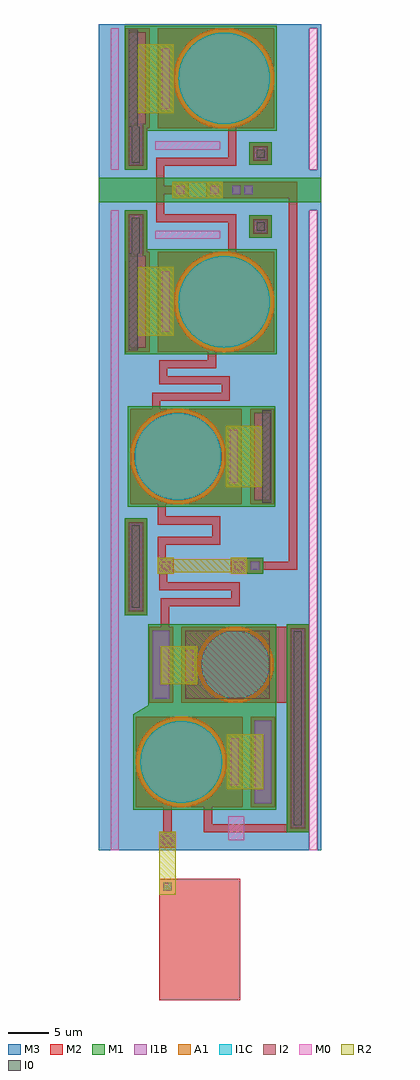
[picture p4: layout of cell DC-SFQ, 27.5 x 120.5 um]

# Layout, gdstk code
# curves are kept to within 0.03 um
from math import pi, radians
import gdstk
lib = gdstk.Library(unit=1e-6, precision=1e-09)
def R(c, l, rs):  # rectangles x0, y0, x1, y1
    for r in rs: c.add(gdstk.rectangle(r[:2], r[2:], *l))
def P(c, l, *ps):  # polygons
    for p in ps: c.add(gdstk.Polygon(p, *l))
M1 = (1, 0)
I1B = (3, 0)
I1C = (4, 0)
A1 = (5, 0)
M2 = (6, 0)
I2 = (8, 0)
R2 = (9, 0)
M3 = (10, 0)
M0 = (30, 0)
I0 = (31, 0)

ak_qc1p0r265 = lib.new_cell('ak_qc1p0r265')
R(ak_qc1p0r265, I1B, [(-3.7,-5.5,3.7,-3.5), (-3.3,-1.5,3.3,-0.5)])
R(ak_qc1p0r265, M2, [(-4.2,-6,4.2,-3), (-4.2,-2,4.2,0)])
R(ak_qc1p0r265, R2, [(-3.8,-4.5,3.8,0)])

ak_qc1p1j800 = lib.new_cell('ak_qc1p1j800')
P(ak_qc1p1j800, I1B, [(0,-5.4),(-1.03,-5.301),(-2.11,-4.971),(-3.02,-4.477),(-3.818,-3.818),(-4.477,-3.02),(-4.971,-2.11),(-5.301,-1.03),(-5.4,0),(-5.301,1.03),(-4.971,2.11),(-4.477,3.02),(-3.818,3.818),(-3.02,4.477),(-2.11,4.971),(-1.03,5.301),(0,5.4),(1.03,5.301),(2.11,4.971),(3.02,4.477),(3.818,3.818),(4.477,3.02),(4.971,2.11),(5.301,1.03),(5.4,0),(5.301,-1.03),(4.971,-2.11),(4.477,-3.02),(3.818,-3.818),(3.02,-4.477),(2.11,-4.971),(1.03,-5.301)])
P(ak_qc1p1j800, I1C, [(-0.093,-5.352),(-1.204,-5.215),(-2.177,-4.89),(-3.07,-4.384),(-3.85,-3.718),(-4.489,-2.915),(-4.963,-2.005),(-5.254,-1.021),(-5.352,0.093),(-5.215,1.204),(-4.89,2.177),(-4.384,3.07),(-3.718,3.85),(-2.915,4.489),(-2.005,4.963),(-1.021,5.254),(0.093,5.352),(1.204,5.215),(2.177,4.89),(3.07,4.384),(3.85,3.718),(4.489,2.915),(4.963,2.005),(5.254,1.021),(5.352,-0.093),(5.215,-1.204),(4.89,-2.177),(4.384,-3.07),(3.718,-3.85),(2.915,-4.489),(2.005,-4.963),(1.021,-5.254)])
P(ak_qc1p1j800, A1, [(0,-5.9),(-1.126,-5.792),(-1.725,-5.642),(-2.305,-5.431),(-3.299,-4.891),(-4.172,-4.172),(-4.891,-3.299),(-5.431,-2.305),(-5.642,-1.725),(-5.792,-1.126),(-5.9,0),(-5.792,1.126),(-5.642,1.725),(-5.431,2.305),(-4.891,3.299),(-4.172,4.172),(-3.299,4.891),(-2.305,5.431),(-1.725,5.642),(-1.126,5.792),(0,5.9),(1.126,5.792),(1.725,5.642),(2.305,5.431),(3.299,4.891),(4.172,4.172),(4.891,3.299),(5.431,2.305),(5.642,1.725),(5.792,1.126),(5.9,0),(5.792,-1.126),(5.642,-1.725),(5.431,-2.305),(4.891,-3.299),(4.172,-4.172),(3.299,-4.891),(2.305,-5.431),(1.725,-5.642),(1.126,-5.792)])

ak_qc1p1j800s = lib.new_cell('ak_qc1p1j800s')
R(ak_qc1p1j800s, M1, [(-6.2,-12,6.2,6.2)])
R(ak_qc1p1j800s, I1B, [(-5.4,-11.4,5.4,-9.4)])
R(ak_qc1p1j800s, M2, [(-5.9,-11.9,5.9,-8.9), (-5.9,-7.9,5.9,5.9)])
ak_qc1p1j800s.add(gdstk.Reference(ak_qc1p0r265, (0,-5.9)))
ak_qc1p1j800s.add(gdstk.Reference(ak_qc1p1j800, (0,0)))

ak_qc1p1j800sgd = lib.new_cell('ak_qc1p1j800sgd')
R(ak_qc1p1j800sgd, I2, [(-5.4,-11.4,5.4,-9.4)])
R(ak_qc1p1j800sgd, M3, [(-5.9,-11.9,5.9,-8.9)])
R(ak_qc1p1j800sgd, I0, [(-5.7,-11.5,5.7,-10.4)])
ak_qc1p1j800sgd.add(gdstk.Reference(ak_qc1p1j800s, (0,0)))

ak_qc1p2j000_2 = lib.new_cell('ak_qc1p2j000$2')
P(ak_qc1p2j000_2, I1B, [(0,-5.6),(-0.585,-5.569),(-1.164,-5.478),(-2.188,-5.155),(-3.131,-4.643),(-3.96,-3.96),(-4.643,-3.131),(-5.155,-2.188),(-5.478,-1.164),(-5.569,-0.585),(-5.6,0),(-5.569,0.585),(-5.478,1.164),(-5.155,2.188),(-4.643,3.131),(-3.96,3.96),(-3.131,4.643),(-2.188,5.155),(-1.164,5.478),(-0.585,5.569),(0,5.6),(0.585,5.569),(1.164,5.478),(2.188,5.155),(3.131,4.643),(3.96,3.96),(4.643,3.131),(5.155,2.188),(5.478,1.164),(5.569,0.585),(5.6,0),(5.569,-0.585),(5.478,-1.164),(5.155,-2.188),(4.643,-3.131),(3.96,-3.96),(3.131,-4.643),(2.188,-5.155),(1.164,-5.478),(0.585,-5.569)])
P(ak_qc1p2j000_2, I1C, [(0,-5.642),(-1.077,-5.538),(-2.113,-5.231),(-3.073,-4.732),(-3.551,-4.385),(-3.989,-3.989),(-4.385,-3.551),(-4.732,-3.073),(-5.231,-2.113),(-5.538,-1.077),(-5.642,0),(-5.538,1.077),(-5.231,2.113),(-4.732,3.073),(-4.385,3.551),(-3.989,3.989),(-3.551,4.385),(-3.073,4.732),(-2.113,5.231),(-1.077,5.538),(0,5.642),(1.077,5.538),(2.113,5.231),(3.073,4.732),(3.551,4.385),(3.989,3.989),(4.385,3.551),(4.732,3.073),(5.231,2.113),(5.538,1.077),(5.642,0),(5.538,-1.077),(5.231,-2.113),(4.732,-3.073),(4.385,-3.551),(3.989,-3.989),(3.551,-4.385),(3.073,-4.732),(2.113,-5.231),(1.077,-5.538)])
P(ak_qc1p2j000_2, A1, [(0,-6.2),(-1.183,-6.086),(-2.323,-5.749),(-3.377,-5.2),(-3.902,-4.818),(-4.384,-4.384),(-4.818,-3.902),(-5.2,-3.377),(-5.749,-2.323),(-6.086,-1.183),(-6.2,0),(-6.086,1.183),(-5.749,2.323),(-5.2,3.377),(-4.818,3.902),(-4.384,4.384),(-3.902,4.818),(-3.377,5.2),(-2.323,5.749),(-1.183,6.086),(0,6.2),(1.183,6.086),(2.323,5.749),(3.377,5.2),(3.902,4.818),(4.384,4.384),(4.818,3.902),(5.2,3.377),(5.749,2.323),(6.086,1.183),(6.2,0),(6.086,-1.183),(5.749,-2.323),(5.2,-3.377),(4.818,-3.902),(4.384,-4.384),(3.902,-4.818),(3.377,-5.2),(2.323,-5.749),(1.183,-6.086)])

ak_qc10r24_2 = lib.new_cell('ak_qc10r24$2')
R(ak_qc10r24_2, I1B, [(-4.1,-5.5,4.2,-3.5), (-3.7,-1.5,3.8,-0.5)])
R(ak_qc10r24_2, M2, [(-4.6,-6,4.7,-3), (-4.6,-2,4.7,0)])
R(ak_qc10r24_2, R2, [(-4.2,-4.5,4.3,0)])

ak_qc1p2j000s_2 = lib.new_cell('ak_qc1p2j000s$2')
R(ak_qc1p2j000s_2, M1, [(-6.5,-12.3,6.5,6.5)])
R(ak_qc1p2j000s_2, I1B, [(-5.7,-11.7,5.7,-9.7)])
R(ak_qc1p2j000s_2, M2, [(-6.2,-12.2,6.2,-9.2), (-6.2,-8.2,6.2,6.2)])
ak_qc1p2j000s_2.add(gdstk.Reference(ak_qc1p2j000_2, (0,0)))
ak_qc1p2j000s_2.add(gdstk.Reference(ak_qc10r24_2, (0,-6.2)))

ak_qc1p2j000sgd_2 = lib.new_cell('ak_qc1p2j000sgd$2')
R(ak_qc1p2j000sgd_2, I2, [(-5.7,-11.7,5.7,-9.7)])
R(ak_qc1p2j000sgd_2, M3, [(-6.2,-12.2,6.2,-9.2)])
R(ak_qc1p2j000sgd_2, I0, [(-6,-11.8,6,-10.7)])
ak_qc1p2j000sgd_2.add(gdstk.Reference(ak_qc1p2j000s_2, (0,0)))

ak_qc1vm2r2_2 = lib.new_cell('ak_qc1vm2r2$2')
R(ak_qc1vm2r2_2, I1B, [(-0.5,-0.5,0.5,0.5)])
R(ak_qc1vm2r2_2, M2, [(-1,-1,1,1)])
R(ak_qc1vm2r2_2, R2, [(-1,-1,1,1)])

ak_qc1vm21_1 = lib.new_cell('ak_qc1vm21$1')
R(ak_qc1vm21_1, M1, [(-1,-1,1,1)])
R(ak_qc1vm21_1, I1B, [(-0.5,-0.5,0.5,0.5)])
R(ak_qc1vm21_1, M2, [(-1,-1,1,1)])

ak_qc1ctl000 = lib.new_cell('ak_qc1ctl000')
R(ak_qc1ctl000, M1, [(14.1,-6.9,16.9,-4.1), (23.1,-6.9,25.9,-4.1)])
R(ak_qc1ctl000, I1B, [(14.8,-6.2,16.2,-4.8), (23.8,-6.2,25.2,-4.8)])
R(ak_qc1ctl000, M2, [(14.1,-6.9,16.9,-4.1), (23.1,-6.9,25.9,-4.1)])
R(ak_qc1ctl000, I2, [(14.6,-6.4,16.4,-4.6), (23.6,-6.4,25.4,-4.6)])
R(ak_qc1ctl000, M3, [(14.1,-6.9,16.9,-4.1), (23.1,-6.9,25.9,-4.1)])
P(ak_qc1ctl000, M3, [(-0.5,-8),(-0.5,11.5),(14.5,11.5),(14.5,7.5),(14,7.5),(14,-0.5),(14.5,-0.5),(14.5,-8)],
  [(14.5,-8),(14.5,-0.5),(15,-0.5),(15,7.5),(14.5,7.5),(14.5,11.5),(25.5,11.5),(25.5,7.5),(25,7.5),(25,-0.5),(25.5,-0.5),(25.5,-8)],
  [(25.5,-8),(25.5,-0.5),(26,-0.5),(26,7.5),(25.5,7.5),(25.5,11.5),(40.5,11.5),(40.5,-8)])
R(ak_qc1ctl000, I0, [(15,-6,16,-5), (24,-6,25,-5)])
ak_qc1ctl000.add(gdstk.FlexPath([(12,9.9),(16.8,9.9)], 1.4, ends="flush", simple_path=True, layer=3, datatype=0))  # I1B
ak_qc1ctl000.add(gdstk.FlexPath([(28,9.9),(23.2,9.9)], 1.4, ends="flush", simple_path=True, layer=3, datatype=0))  # I1B
ak_qc1ctl000.add(gdstk.FlexPath([(20,1.2),(20,3.4)], 2, ends="flush", simple_path=True, layer=9, datatype=0))  # R2
ak_qc1ctl000.add(gdstk.FlexPath([(11.3,9.9),(17.5,9.9)], 2.8, ends="flush", simple_path=True, layer=6, datatype=0))  # M2
ak_qc1ctl000.add(gdstk.FlexPath([(28.7,9.9),(22.5,9.9)], 2.8, ends="flush", simple_path=True, layer=6, datatype=0))  # M2
ak_qc1ctl000.add(gdstk.FlexPath([(12.4,-2),(16.5,-2),(16.5,6.9),(23.5,6.9),(23.5,-2),(27.6,-2)], 1, ends="flush", simple_path=True, layer=6, datatype=0))  # M2
ak_qc1ctl000.add(gdstk.FlexPath([(20,5.2),(20,7.3)], 1, ends="flush", simple_path=True, layer=6, datatype=0))  # M2
ak_qc1ctl000.add(gdstk.FlexPath([(20,-0.8),(20,-10)], 2, ends="flush", simple_path=True, layer=6, datatype=0))  # M2
ak_qc1ctl000.add(gdstk.FlexPath([(11.3,9.9),(17.5,9.9)], 2.8, ends="flush", simple_path=True, layer=1, datatype=0))  # M1
ak_qc1ctl000.add(gdstk.FlexPath([(28.7,9.9),(22.5,9.9)], 2.8, ends="flush", simple_path=True, layer=1, datatype=0))  # M1
ak_qc1ctl000.add(gdstk.FlexPath([(11.3,9.9),(17.5,9.9)], 2.8, ends="flush", simple_path=True, layer=10, datatype=0))  # M3
ak_qc1ctl000.add(gdstk.FlexPath([(28.7,9.9),(22.5,9.9)], 2.8, ends="flush", simple_path=True, layer=10, datatype=0))  # M3
ak_qc1ctl000.add(gdstk.FlexPath([(12.2,9.9),(16.6,9.9)], 1, ends="flush", simple_path=True, layer=31, datatype=0))  # I0
ak_qc1ctl000.add(gdstk.FlexPath([(27.8,9.9),(23.4,9.9)], 1, ends="flush", simple_path=True, layer=31, datatype=0))  # I0
ak_qc1ctl000.add(gdstk.FlexPath([(11.8,9.9),(17,9.9)], 1.8, ends="flush", simple_path=True, layer=8, datatype=0))  # I2
ak_qc1ctl000.add(gdstk.FlexPath([(28.2,9.9),(23,9.9)], 1.8, ends="flush", simple_path=True, layer=8, datatype=0))  # I2
ak_qc1ctl000.add(gdstk.FlexPath([(14.5,-0.5),(14.5,7.5)], 1, ends="flush", simple_path=True, layer=30, datatype=0))  # M0
ak_qc1ctl000.add(gdstk.FlexPath([(25.5,-0.5),(25.5,7.5)], 1, ends="flush", simple_path=True, layer=30, datatype=0))  # M0
ak_qc1ctl000.add(gdstk.Reference(ak_qc1p2j000sgd_2, (6.2,-1), x_reflection=True))
ak_qc1ctl000.add(gdstk.Reference(ak_qc1p2j000sgd_2, (33.8,-1), rotation=pi))
ak_qc1ctl000.add(gdstk.Reference(ak_qc1vm2r2_2, (20,4.4), x_reflection=True))
ak_qc1ctl000.add(gdstk.Reference(ak_qc1vm2r2_2, (20,0.2), x_reflection=True))
ak_qc1ctl000.add(gdstk.Reference(ak_qc1vm21_1, (20,-2.5), x_reflection=True))

ak_qc1p0r433 = lib.new_cell('ak_qc1p0r433')
R(ak_qc1p0r433, I1B, [(-2.2,-5.5,2.3,-3.5), (-1.8,-1.5,1.9,-0.5)])
R(ak_qc1p0r433, M2, [(-2.7,-6,2.8,-3), (-2.7,-2,2.8,0)])
R(ak_qc1p0r433, R2, [(-2.3,-4.5,2.4,0)])

ak_qc1p1j100 = lib.new_cell('ak_qc1p1j100')
P(ak_qc1p1j100, I1B, [(0,-4.2),(-0.801,-4.123),(-1.641,-3.866),(-2.349,-3.482),(-2.97,-2.97),(-3.482,-2.349),(-3.866,-1.641),(-4.123,-0.801),(-4.2,0),(-4.123,0.801),(-3.866,1.641),(-3.482,2.349),(-2.97,2.97),(-2.349,3.482),(-1.641,3.866),(-0.801,4.123),(0,4.2),(0.801,4.123),(1.641,3.866),(2.349,3.482),(2.97,2.97),(3.482,2.349),(3.866,1.641),(4.123,0.801),(4.2,0),(4.123,-0.801),(3.866,-1.641),(3.482,-2.349),(2.97,-2.97),(2.349,-3.482),(1.641,-3.866),(0.801,-4.123)])
P(ak_qc1p1j100, I1C, [(-0.073,-4.184),(-0.87,-4.093),(-1.635,-3.852),(-2.34,-3.469),(-3.01,-2.907),(-3.509,-2.279),(-3.906,-1.499),(-4.121,-0.727),(-4.184,0.073),(-4.093,0.87),(-3.852,1.635),(-3.469,2.34),(-2.907,3.01),(-2.279,3.509),(-1.499,3.906),(-0.727,4.121),(0.073,4.184),(0.87,4.093),(1.635,3.852),(2.34,3.469),(3.01,2.907),(3.509,2.279),(3.906,1.499),(4.121,0.727),(4.184,-0.073),(4.093,-0.87),(3.852,-1.635),(3.469,-2.34),(2.907,-3.01),(2.279,-3.509),(1.499,-3.906),(0.727,-4.121)])
P(ak_qc1p1j100, A1, [(0,-4.7),(-0.897,-4.614),(-1.761,-4.358),(-2.56,-3.942),(-3.265,-3.381),(-3.85,-2.696),(-4.294,-1.912),(-4.614,-0.897),(-4.7,0),(-4.614,0.897),(-4.358,1.761),(-3.942,2.56),(-3.381,3.265),(-2.696,3.85),(-1.912,4.294),(-0.897,4.614),(0,4.7),(0.897,4.614),(1.761,4.358),(2.56,3.942),(3.265,3.381),(3.85,2.696),(4.294,1.912),(4.614,0.897),(4.7,0),(4.614,-0.897),(4.358,-1.761),(3.942,-2.56),(3.381,-3.265),(2.696,-3.85),(1.912,-4.294),(0.897,-4.614)])

ak_qc1p1j100s = lib.new_cell('ak_qc1p1j100s')
R(ak_qc1p1j100s, M1, [(-5,-10.8,5,5)])
R(ak_qc1p1j100s, I1B, [(-4.2,-10.2,4.2,-8.2)])
R(ak_qc1p1j100s, M2, [(-4.7,-10.7,4.7,-7.7), (-4.7,-6.7,4.7,4.7)])
ak_qc1p1j100s.add(gdstk.Reference(ak_qc1p0r433, (0,-4.7)))
ak_qc1p1j100s.add(gdstk.Reference(ak_qc1p1j100, (0,0)))

ak_qc1p1j100sgu = lib.new_cell('ak_qc1p1j100sgu')
R(ak_qc1p1j100sgu, I2, [(-4.2,-6.2,4.2,4.2)])
R(ak_qc1p1j100sgu, M3, [(-4.7,-6.7,4.7,4.7)])
ak_qc1p1j100sgu.add(gdstk.Reference(ak_qc1p1j100s, (0,0)))

ak_qc1p0r298 = lib.new_cell('ak_qc1p0r298')
R(ak_qc1p0r298, I1B, [(-3.3,-5.5,3.3,-3.5), (-2.9,-1.5,2.9,-0.5)])
R(ak_qc1p0r298, M2, [(-3.8,-6,3.8,-3), (-3.8,-2,3.8,0)])
R(ak_qc1p0r298, R2, [(-3.4,-4.5,3.4,0)])

ak_qc1p1j600 = lib.new_cell('ak_qc1p1j600')
P(ak_qc1p1j600, I1B, [(0,-5),(-1.04,-4.891),(-1.954,-4.603),(-2.796,-4.145),(-3.536,-3.536),(-4.145,-2.796),(-4.603,-1.954),(-4.891,-1.04),(-5,0),(-4.891,1.04),(-4.603,1.954),(-4.145,2.796),(-3.536,3.536),(-2.796,4.145),(-1.954,4.603),(-1.04,4.891),(0,5),(1.04,4.891),(1.954,4.603),(2.796,4.145),(3.536,3.536),(4.145,2.796),(4.603,1.954),(4.891,1.04),(5,0),(4.891,-1.04),(4.603,-1.954),(4.145,-2.796),(3.536,-3.536),(2.796,-4.145),(1.954,-4.603),(1.04,-4.891)])
P(ak_qc1p1j600, I1C, [(0,-5.046),(-0.963,-4.954),(-1.89,-4.679),(-2.822,-4.184),(-3.568,-3.568),(-4.184,-2.822),(-4.679,-1.89),(-4.954,-0.963),(-5.046,0),(-4.954,0.963),(-4.679,1.89),(-4.184,2.822),(-3.568,3.568),(-2.822,4.184),(-1.89,4.679),(-0.963,4.954),(0,5.046),(0.963,4.954),(1.89,4.679),(2.822,4.184),(3.568,3.568),(4.184,2.822),(4.679,1.89),(4.954,0.963),(5.046,0),(4.954,-0.963),(4.679,-1.89),(4.184,-2.822),(3.568,-3.568),(2.822,-4.184),(1.89,-4.679),(0.963,-4.954)])
P(ak_qc1p1j600, A1, [(0,-5.6),(-0.585,-5.569),(-1.164,-5.478),(-2.188,-5.155),(-3.131,-4.643),(-3.96,-3.96),(-4.643,-3.131),(-5.155,-2.188),(-5.478,-1.164),(-5.569,-0.585),(-5.6,0),(-5.569,0.585),(-5.478,1.164),(-5.155,2.188),(-4.643,3.131),(-3.96,3.96),(-3.131,4.643),(-2.188,5.155),(-1.164,5.478),(-0.585,5.569),(0,5.6),(0.585,5.569),(1.164,5.478),(2.188,5.155),(3.131,4.643),(3.96,3.96),(4.643,3.131),(5.155,2.188),(5.478,1.164),(5.569,0.585),(5.6,0),(5.569,-0.585),(5.478,-1.164),(5.155,-2.188),(4.643,-3.131),(3.96,-3.96),(3.131,-4.643),(2.188,-5.155),(1.164,-5.478),(0.585,-5.569)])

ak_qc1p1j600s = lib.new_cell('ak_qc1p1j600s')
R(ak_qc1p1j600s, M1, [(-5.9,-11.7,5.9,5.9)])
R(ak_qc1p1j600s, I1B, [(-5.1,-11.1,5.1,-9.1)])
R(ak_qc1p1j600s, M2, [(-5.6,-11.6,5.6,-8.6), (-5.6,-7.6,5.6,5.6)])
ak_qc1p1j600s.add(gdstk.Reference(ak_qc1p0r298, (0,-5.6)))
ak_qc1p1j600s.add(gdstk.Reference(ak_qc1p1j600, (0,0)))

dc_sfq = lib.new_cell('DC-SFQ')
P(dc_sfq, M1, [(-8.2,-84.7),(-6.4,-83.6),(9.4,-83.6),(9.4,-84.7)])
R(dc_sfq, M2, [(-5,-120,5,-105), (7.2,-88,9,-85), (9.1,-83.3,10.7,-73.9)])
R(dc_sfq, M3, [(-12.5,-101.5,13.5,0), (14.5,-101.5,15,0), (13.5,-22.5,14.5,-17.5), (-12.5,0,15,0.5)])
R(dc_sfq, M0, [(3.5,-100.3,5.5,-97.3)])
dc_sfq.add(gdstk.FlexPath([(-7.9,-61.2),(-7.9,-71.8)], 1.4, ends="flush", simple_path=True, layer=3, datatype=0))  # I1B
dc_sfq.add(gdstk.FlexPath([(12.1,-98.6),(12.1,-74.3)], 1.4, ends="flush", simple_path=True, layer=3, datatype=0))  # I1B
dc_sfq.add(gdstk.FlexPath([(-3.2,-66.4),(3.8,-66.4)], 1.6, ends="flush", simple_path=True, layer=9, datatype=0))  # R2
dc_sfq.add(gdstk.FlexPath([(-4,-101.2),(-4,-105)], 2, ends="flush", simple_path=True, layer=9, datatype=0))  # R2
dc_sfq.add(gdstk.FlexPath([(4.8,-66.4),(11.5,-66.4),(11.5,-19.5),(7,-19.5)], 1, ends="flush", simple_path=True, layer=6, datatype=0))  # M2
dc_sfq.add(gdstk.FlexPath([(-5.4,-47),(-5.4,-45.5),(3.2,-45.5),(3.2,-43.5),(-4.5,-43.5),(-4.5,-41.5),(1.5,-41.5),(1.5,-40)], 1, ends="flush", simple_path=True, layer=6, datatype=0))  # M2
dc_sfq.add(gdstk.FlexPath([(-4.7,-65.4),(-4.7,-63.3),(2,-63.3),(2,-60.8),(-4.7,-60.8),(-4.7,-58.8)], 1, ends="flush", simple_path=True, layer=6, datatype=0))  # M2
dc_sfq.add(gdstk.FlexPath([(-7.9,-60.5),(-7.9,-72.5)], 2.8, ends="flush", simple_path=True, layer=6, datatype=0))  # M2
dc_sfq.add(gdstk.FlexPath([(-4.3,-73.9),(-4.3,-70.9),(4.4,-70.9),(4.4,-68.9),(-4.5,-68.9),(-4.5,-67.4)], 1, ends="flush", simple_path=True, layer=6, datatype=0))  # M2
dc_sfq.add(gdstk.FlexPath([(12.1,-99.3),(12.1,-73.6)], 2.8, ends="flush", simple_path=True, layer=6, datatype=0))  # M2
dc_sfq.add(gdstk.FlexPath([(-4,-99.2),(-4,-96.2)], 1, ends="flush", simple_path=True, layer=6, datatype=0))  # M2
dc_sfq.add(gdstk.FlexPath([(1,-96.2),(1,-98.8),(10.7,-98.8)], 1, ends="flush", simple_path=True, layer=6, datatype=0))  # M2
dc_sfq.add(gdstk.FlexPath([(-12.5,-20),(15,-20)], 3, ends="flush", simple_path=True, layer=1, datatype=0))  # M1
dc_sfq.add(gdstk.FlexPath([(-7.9,-60.5),(-7.9,-72.5)], 2.8, ends="flush", simple_path=True, layer=1, datatype=0))  # M1
dc_sfq.add(gdstk.FlexPath([(12.1,-99.3),(12.1,-73.6)], 2.8, ends="flush", simple_path=True, layer=1, datatype=0))  # M1
dc_sfq.add(gdstk.FlexPath([(-7.9,-60.5),(-7.9,-72.5)], 2.8, ends="flush", simple_path=True, layer=10, datatype=0))  # M3
dc_sfq.add(gdstk.FlexPath([(12.1,-99.3),(12.1,-73.6)], 2.8, ends="flush", simple_path=True, layer=10, datatype=0))  # M3
dc_sfq.add(gdstk.FlexPath([(-7.9,-61.4),(-7.9,-71.6)], 1, ends="flush", simple_path=True, layer=31, datatype=0))  # I0
dc_sfq.add(gdstk.FlexPath([(12.1,-98.4),(12.1,-74.5)], 1, ends="flush", simple_path=True, layer=31, datatype=0))  # I0
dc_sfq.add(gdstk.FlexPath([(-7.9,-61),(-7.9,-72)], 1.8, ends="flush", simple_path=True, layer=8, datatype=0))  # I2
dc_sfq.add(gdstk.FlexPath([(12.1,-98.8),(12.1,-74.1)], 1.8, ends="flush", simple_path=True, layer=8, datatype=0))  # I2
dc_sfq.add(gdstk.FlexPath([(-10.5,0),(-10.5,-17.5)], 1, ends="flush", simple_path=True, layer=30, datatype=0))  # M0
dc_sfq.add(gdstk.FlexPath([(14,-17.5),(14,0)], 1, ends="flush", simple_path=True, layer=30, datatype=0))  # M0
dc_sfq.add(gdstk.FlexPath([(-10.5,-22.5),(-10.5,-101.5)], 1, ends="flush", simple_path=True, layer=30, datatype=0))  # M0
dc_sfq.add(gdstk.FlexPath([(14,-101.5),(14,-22.5)], 1, ends="flush", simple_path=True, layer=30, datatype=0))  # M0
dc_sfq.add(gdstk.Reference(ak_qc1p1j800sgd, (-2.7,-52.9), rotation=pi/2))
dc_sfq.add(gdstk.Reference(ak_qc1ctl000, (2,0), rotation=3*pi/2, x_reflection=True))
dc_sfq.add(gdstk.Reference(ak_qc1vm2r2_2, (-4,-106)))
dc_sfq.add(gdstk.Reference(ak_qc1vm2r2_2, (-4,-100.2)))
dc_sfq.add(gdstk.Reference(ak_qc1vm2r2_2, (4.8,-66.4)))
dc_sfq.add(gdstk.Reference(ak_qc1vm2r2_2, (-4.2,-66.4)))
dc_sfq.add(gdstk.Reference(ak_qc1p1j100sgu, (4.4,-78.6), rotation=3*pi/2))
dc_sfq.add(gdstk.Reference(ak_qc1p1j600s, (-2.3,-90.6), rotation=pi/2))
dc_sfq.add(gdstk.Reference(ak_qc1vm21_1, (6.8,-66.4)))
dc_sfq.add(gdstk.Reference(ak_qc1vm21_1, (6,-20)))

lib.write_gds('DC-SFQ.gds')
